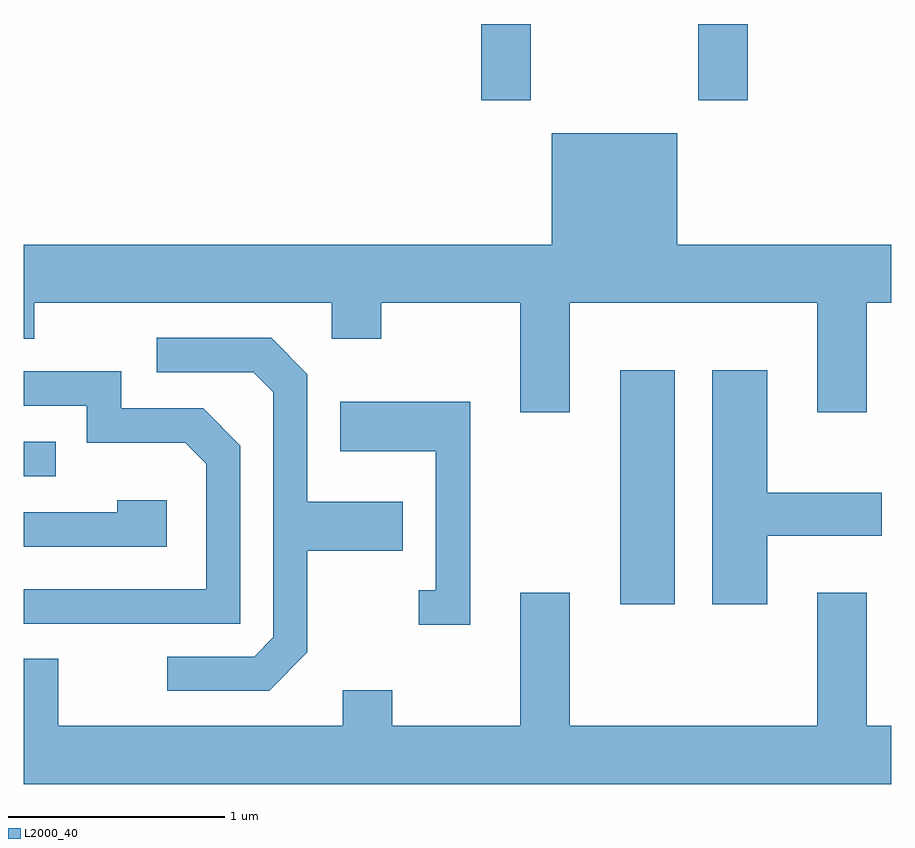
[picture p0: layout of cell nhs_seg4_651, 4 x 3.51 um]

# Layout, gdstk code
import gdstk
lib = gdstk.Library(unit=1e-6, precision=1e-09)
def R(c, l, rs):  # rectangles x0, y0, x1, y1
    for r in rs: c.add(gdstk.rectangle(r[:2], r[2:], *l))
def P(c, l, *ps):  # polygons
    for p in ps: c.add(gdstk.Polygon(p, *l))
L2000_40 = (2000, 40)

nhs_seg4_651 = lib.new_cell('nhs_seg4_651')
R(nhs_seg4_651, L2000_40, [(206.361,1333.306,206.614,1334.384), (203.611,1333.896,203.758,1334.054), (205.721,1335.631,205.949,1335.982), (206.721,1335.631,206.949,1335.982)])
P(nhs_seg4_651, L2000_40, [(206.129,1334.696),(207.271,1334.696),(207.271,1334.191),(207.499,1334.191),(207.499,1334.696),(207.611,1334.696),(207.611,1334.964),(206.624,1334.964),(206.624,1335.479),(206.046,1335.479),(206.046,1334.964),(203.611,1334.964),(203.611,1334.531),(203.659,1334.531),(203.659,1334.696),(205.031,1334.696),(205.031,1334.531),(205.259,1334.531),(205.259,1334.696),(205.901,1334.696),(205.901,1334.191),(206.129,1334.191)],
  [(204.919,1333.084),(204.919,1333.551),(205.359,1333.551),(205.359,1333.779),(204.919,1333.779),(204.919,1334.367),(204.752,1334.534),(204.223,1334.534),(204.223,1334.376),(204.669,1334.376),(204.761,1334.284),(204.761,1333.152),(204.674,1333.064),(204.273,1333.064),(204.273,1332.906),(204.742,1332.906)],
  [(207.039,1333.621),(207.569,1333.621),(207.569,1333.819),(207.039,1333.819),(207.039,1334.384),(206.786,1334.384),(206.786,1333.306),(207.039,1333.306)],
  [(204.609,1334.037),(204.437,1334.209),(204.059,1334.209),(204.059,1334.379),(203.611,1334.379),(203.611,1334.221),(203.901,1334.221),(203.901,1334.051),(204.354,1334.051),(204.451,1333.954),(204.451,1333.374),(203.611,1333.374),(203.611,1333.216),(204.609,1333.216)],
  [(205.669,1334.239),(205.071,1334.239),(205.071,1334.011),(205.511,1334.011),(205.511,1333.369),(205.433,1333.369),(205.433,1333.211),(205.669,1333.211)],
  [(204.269,1333.784),(204.041,1333.784),(204.041,1333.729),(203.611,1333.729),(203.611,1333.571),(204.269,1333.571)],
  [(205.901,1333.359),(205.901,1332.744),(205.309,1332.744),(205.309,1332.909),(205.081,1332.909),(205.081,1332.744),(203.769,1332.744),(203.769,1333.054),(203.611,1333.054),(203.611,1332.476),(207.611,1332.476),(207.611,1332.744),(207.499,1332.744),(207.499,1333.359),(207.271,1333.359),(207.271,1332.744),(206.129,1332.744),(206.129,1333.359)])

lib.write_gds('nhs_seg4_651.gds')
